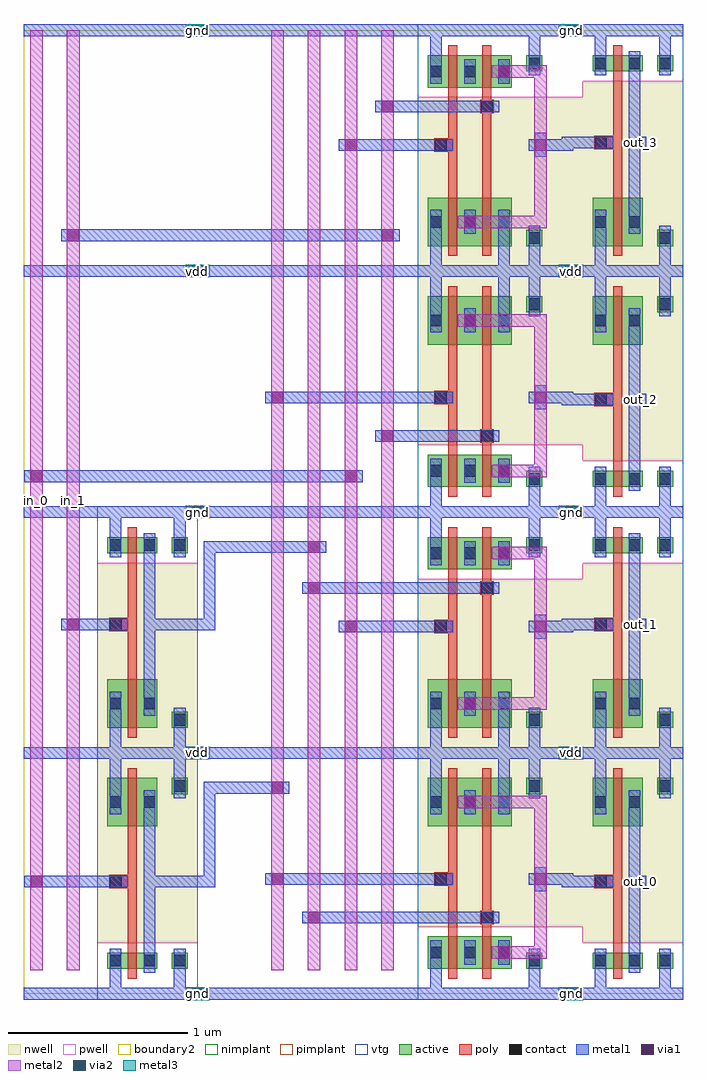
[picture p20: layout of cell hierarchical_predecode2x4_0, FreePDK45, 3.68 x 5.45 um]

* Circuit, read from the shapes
.subckt hierarchical_predecode2x4_0 gnd in_0 in_1 out_0 out_1 out_2 out_3 vdd
M1 pnand2_0_6/A in_0 gnd gnd nfet w=0.09u l=0.05u
M2 pnand2_0_6/B in_1 gnd gnd nfet w=0.09u l=0.05u
M3 pnand2_0_6/nmos_m1_w0_180_a_p_2/D pnand2_0_6/A gnd gnd nfet w=0.18u l=0.05u
M4 pnand2_0_7/nmos_m1_w0_180_a_p_2/D in_0 gnd gnd nfet w=0.18u l=0.05u
M5 pnand2_0_8/nmos_m1_w0_180_a_p_2/D pnand2_0_6/A gnd gnd nfet w=0.18u l=0.05u
M6 pnand2_0_9/nmos_m1_w0_180_a_p_2/D in_0 gnd gnd nfet w=0.18u l=0.05u
M7 pinv_0_2/A pnand2_0_6/B pnand2_0_6/nmos_m1_w0_180_a_p_2/D gnd nfet w=0.18u l=0.05u
M8 pinv_0_3/A pnand2_0_6/B pnand2_0_7/nmos_m1_w0_180_a_p_2/D gnd nfet w=0.18u l=0.05u
M9 pinv_0_4/A in_1 pnand2_0_8/nmos_m1_w0_180_a_p_2/D gnd nfet w=0.18u l=0.05u
M10 pinv_0_5/A in_1 pnand2_0_9/nmos_m1_w0_180_a_p_2/D gnd nfet w=0.18u l=0.05u
M11 out_0 pinv_0_2/A gnd gnd nfet w=0.09u l=0.05u
M12 out_1 pinv_0_3/A gnd gnd nfet w=0.09u l=0.05u
M13 out_2 pinv_0_4/A gnd gnd nfet w=0.09u l=0.05u
M14 out_3 pinv_0_5/A gnd gnd nfet w=0.09u l=0.05u
M15 pnand2_0_6/A in_0 vdd vdd pfet w=0.27u l=0.05u
M16 pnand2_0_6/B in_1 vdd vdd pfet w=0.27u l=0.05u
M17 pinv_0_2/A pnand2_0_6/A vdd vdd pfet w=0.27u l=0.05u
M18 pinv_0_3/A in_0 vdd vdd pfet w=0.27u l=0.05u
M19 pinv_0_4/A pnand2_0_6/A vdd vdd pfet w=0.27u l=0.05u
M20 pinv_0_5/A in_0 vdd vdd pfet w=0.27u l=0.05u
M21 vdd pnand2_0_6/B pinv_0_2/A vdd pfet w=0.27u l=0.05u
M22 vdd pnand2_0_6/B pinv_0_3/A vdd pfet w=0.27u l=0.05u
M23 vdd in_1 pinv_0_4/A vdd pfet w=0.27u l=0.05u
M24 vdd in_1 pinv_0_5/A vdd pfet w=0.27u l=0.05u
M25 out_0 pinv_0_2/A vdd vdd pfet w=0.27u l=0.05u
M26 out_1 pinv_0_3/A vdd vdd pfet w=0.27u l=0.05u
M27 out_2 pinv_0_4/A vdd vdd pfet w=0.27u l=0.05u
M28 out_3 pinv_0_5/A vdd vdd pfet w=0.27u l=0.05u
.ends

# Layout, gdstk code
import gdstk
lib = gdstk.Library(unit=1e-6, precision=5e-10)
def R(c, l, rs):  # rectangles x0, y0, x1, y1
    for r in rs: c.add(gdstk.rectangle(r[:2], r[2:], *l))
def A(c, l, x, y, w, h, nx, ny, dx, dy):  # array of equal rectangles
    R(c, l, [(x+i*dx, y+j*dy, x+i*dx+w, y+j*dy+h) for i in range(nx) for j in range(ny)])
active = (1, 0)
pwell = (2, 0)
nwell = (3, 0)
nimplant = (4, 0)
pimplant = (5, 0)
vtg = (6, 0)
poly = (9, 0)
contact = (10, 0)
metal1 = (11, 0)
via1 = (12, 0)
metal2 = (13, 0)
via2 = (14, 0)
metal3 = (15, 0)
boundary2 = (239, 0)

contact_9 = lib.new_cell('contact_9')
R(contact_9, active, [(0,0.0225,0.09,0.1125)])
R(contact_9, nwell, [(-0.055,-0.0325,0.145,0.1675)])
R(contact_9, pimplant, [(0,0.0225,0.09,0.1125)])
R(contact_9, contact, [(0.0125,0.035,0.0775,0.1)])
R(contact_9, metal1, [(0.0125,0,0.0775,0.135)])

pmos_m1_w0_270_a_p = lib.new_cell('pmos_m1_w0_270_a_p')
R(pmos_m1_w0_270_a_p, active, [(0,0,0.28,0.27)])
R(pmos_m1_w0_270_a_p, nwell, [(-0.055,-0.055,0.335,0.325)])
R(pmos_m1_w0_270_a_p, pimplant, [(0,0,0.28,0.27)])
R(pmos_m1_w0_270_a_p, vtg, [(-0.055,-0.055,0.335,0.325)])
R(pmos_m1_w0_270_a_p, poly, [(0.115,-0.055,0.165,0.325), (0.115,-0.055,0.165,0.325)])
R(pmos_m1_w0_270_a_p, metal1, [(0.0125,0.0675,0.0775,0.2025), (0.2025,0.0675,0.2675,0.2025)])
pmos_m1_w0_270_a_p.add(gdstk.Reference(contact_9, (0,0.0675)))
pmos_m1_w0_270_a_p.add(gdstk.Reference(contact_9, (0.19,0.0675)))
pmos_m1_w0_270_a_p.add(gdstk.Label('G', (0.14,0.135), layer=9, texttype=0))
pmos_m1_w0_270_a_p.add(gdstk.Label('S', (0.045,0.135), layer=11, texttype=0))
pmos_m1_w0_270_a_p.add(gdstk.Label('D', (0.235,0.135), layer=11, texttype=0))

contact_14 = lib.new_cell('contact_14')
R(contact_14, active, [(0,0.0225,0.09,0.1125)])
R(contact_14, pwell, [(-0.055,-0.0325,0.145,0.1675)])
R(contact_14, nimplant, [(0,0.0225,0.09,0.1125)])
R(contact_14, contact, [(0.0125,0.035,0.0775,0.1)])
R(contact_14, metal1, [(0.0125,0,0.0775,0.135)])

nmos_m1_w0_090_a_p = lib.new_cell('nmos_m1_w0_090_a_p')
R(nmos_m1_w0_090_a_p, active, [(0,0,0.28,0.09)])
R(nmos_m1_w0_090_a_p, pwell, [(-0.055,-0.055,0.335,0.145)])
R(nmos_m1_w0_090_a_p, nimplant, [(0,0,0.28,0.09)])
R(nmos_m1_w0_090_a_p, vtg, [(-0.055,-0.055,0.335,0.145)])
R(nmos_m1_w0_090_a_p, poly, [(0.115,-0.055,0.165,0.145), (0.115,-0.055,0.165,0.145)])
R(nmos_m1_w0_090_a_p, metal1, [(0.0125,-0.0225,0.0775,0.1125), (0.2025,-0.0225,0.2675,0.1125)])
nmos_m1_w0_090_a_p.add(gdstk.Reference(contact_14, (0,-0.0225)))
nmos_m1_w0_090_a_p.add(gdstk.Reference(contact_14, (0.19,-0.0225)))
nmos_m1_w0_090_a_p.add(gdstk.Label('G', (0.14,0.045), layer=9, texttype=0))
nmos_m1_w0_090_a_p.add(gdstk.Label('S', (0.045,0.045), layer=11, texttype=0))
nmos_m1_w0_090_a_p.add(gdstk.Label('D', (0.235,0.045), layer=11, texttype=0))

contact_18 = lib.new_cell('contact_18')
R(contact_18, active, [(0,0.0225,0.09,0.1125)])
R(contact_18, nwell, [(-0.055,-0.0325,0.145,0.1675)])
R(contact_18, nimplant, [(0,0.0225,0.09,0.1125)])
R(contact_18, contact, [(0.0125,0.035,0.0775,0.1)])
R(contact_18, metal1, [(0.0125,0,0.0775,0.135)])

contact_19 = lib.new_cell('contact_19')
R(contact_19, active, [(0,0.0225,0.09,0.1125)])
R(contact_19, pwell, [(-0.055,-0.0325,0.145,0.1675)])
R(contact_19, pimplant, [(0,0.0225,0.09,0.1125)])
R(contact_19, contact, [(0.0125,0.035,0.0775,0.1)])
R(contact_19, metal1, [(0.0125,0,0.0775,0.135)])

contact_10 = lib.new_cell('contact_10')
R(contact_10, poly, [(0.03,0,0.105,0.075)])
R(contact_10, contact, [(0.035,0.005,0.1,0.07)])
R(contact_10, metal1, [(0,0.005,0.135,0.07)])

pinv_0 = lib.new_cell('pinv_0')
R(pinv_0, pwell, [(0,-0.0325,0.56,0.285)])
R(pinv_0, nwell, [(0,0.285,0.56,1.3775)])
R(pinv_0, vtg, [(0,-0.0325,0.56,0.285), (0,0.285,0.56,1.3775)])
R(pinv_0, poly, [(0.17,0.085,0.22,0.88), (0.1025,0.59,0.17,0.665)])
R(pinv_0, metal1, [(0,-0.0325,0.56,0.0325), (0.0675,-0.0325,0.1325,0.1175), (0.4275,0,0.4925,0.185), (0.2575,0.1175,0.3225,1.1375), (0.035,0.595,0.17,0.66), (0.29,0.595,0.355,0.66), (0.0675,1.0025,0.1325,1.3775), (0.4275,1.16,0.4925,1.345), (0,1.3125,0.56,1.3775)])
R(pinv_0, boundary2, [(0,0,0.56,1.345)])
pinv_0.add(gdstk.Reference(pmos_m1_w0_270_a_p, (0.055,0.935)))
pinv_0.add(gdstk.Reference(nmos_m1_w0_090_a_p, (0.055,0.14)))
pinv_0.add(gdstk.Reference(contact_18, (0.415,1.0925)))
pinv_0.add(gdstk.Reference(contact_19, (0.415,0.1175)))
pinv_0.add(gdstk.Reference(contact_10, (0.035,0.59)))
pinv_0.add(gdstk.Label('gnd', (0.28,0), layer=11, texttype=0))
pinv_0.add(gdstk.Label('vdd', (0.28,1.345), layer=11, texttype=0))
pinv_0.add(gdstk.Label('A', (0.1025,0.6275), layer=11, texttype=0))
pinv_0.add(gdstk.Label('Z', (0.3225,0.6275), layer=11, texttype=0))

nmos_m1_w0_180_a_p = lib.new_cell('nmos_m1_w0_180_a_p')
R(nmos_m1_w0_180_a_p, active, [(0,0,0.28,0.18)])
R(nmos_m1_w0_180_a_p, pwell, [(-0.055,-0.055,0.335,0.235)])
R(nmos_m1_w0_180_a_p, nimplant, [(0,0,0.28,0.18)])
R(nmos_m1_w0_180_a_p, vtg, [(-0.055,-0.055,0.335,0.235)])
R(nmos_m1_w0_180_a_p, poly, [(0.115,-0.055,0.165,0.235), (0.115,-0.055,0.165,0.235)])
R(nmos_m1_w0_180_a_p, metal1, [(0.0125,0.0225,0.0775,0.1575), (0.2025,0.0225,0.2675,0.1575)])
nmos_m1_w0_180_a_p.add(gdstk.Reference(contact_14, (0,0.0225)))
nmos_m1_w0_180_a_p.add(gdstk.Reference(contact_14, (0.19,0.0225)))
nmos_m1_w0_180_a_p.add(gdstk.Label('G', (0.14,0.09), layer=9, texttype=0))
nmos_m1_w0_180_a_p.add(gdstk.Label('S', (0.045,0.09), layer=11, texttype=0))
nmos_m1_w0_180_a_p.add(gdstk.Label('D', (0.235,0.09), layer=11, texttype=0))

contact_20 = lib.new_cell('contact_20')
R(contact_20, metal1, [(0.035,0,0.1,0.135)])
R(contact_20, via1, [(0.035,0.035,0.1,0.1)])
R(contact_20, metal2, [(0,0.0325,0.135,0.1025)])

contact_16 = lib.new_cell('contact_16')
R(contact_16, metal1, [(0,0.035,0.135,0.1)])
R(contact_16, via1, [(0.035,0.035,0.1,0.1)])
R(contact_16, metal2, [(0.0325,0,0.1025,0.135)])

pnand2_0 = lib.new_cell('pnand2_0')
R(pnand2_0, pwell, [(0,-0.0325,0.92,0.375)])
R(pnand2_0, nwell, [(0,0.375,0.92,1.3775)])
R(pnand2_0, vtg, [(0,-0.0325,0.92,0.375), (0,0.375,0.92,1.3775)])
R(pnand2_0, poly, [(0.17,0.085,0.22,0.88), (0.36,0.085,0.41,0.88), (0.36,0.3875,0.385,0.4625), (0.1275,0.6025,0.17,0.6775)])
R(pnand2_0, metal1, [(0,-0.0325,0.92,0.0325), (0.0675,-0.0325,0.1325,0.1625), (0.6175,0,0.6825,0.185), (0.3175,0.3925,0.4525,0.4575), (0.6525,0.5725,0.7175,0.7075), (0.06,0.6075,0.195,0.6725), (0.0675,1.0025,0.1325,1.3775), (0.4475,1.0025,0.5125,1.3775), (0.6175,1.16,0.6825,1.345), (0,1.3125,0.92,1.3775)])
R(pnand2_0, metal2, [(0.48,0.195,0.685,0.265), (0.65,0.195,0.72,0.265), (0.65,0.23,0.72,0.64), (0.65,0.64,0.72,1.07), (0.29,1.035,0.685,1.105), (0.65,1.035,0.72,1.105)])
R(pnand2_0, boundary2, [(0,0,0.92,1.345)])
pnand2_0.add(gdstk.Reference(pmos_m1_w0_270_a_p, (0.055,0.935)))
pnand2_0.add(gdstk.Reference(pmos_m1_w0_270_a_p, (0.245,0.935)))
pnand2_0.add(gdstk.Reference(nmos_m1_w0_180_a_p, (0.055,0.14)))
pnand2_0.add(gdstk.Reference(nmos_m1_w0_180_a_p, (0.245,0.14)))
pnand2_0.add(gdstk.Reference(contact_18, (0.605,1.0925)))
pnand2_0.add(gdstk.Reference(contact_19, (0.605,0.1175)))
pnand2_0.add(gdstk.Reference(contact_10, (0.3175,0.3875)))
pnand2_0.add(gdstk.Reference(contact_10, (0.06,0.6025)))
pnand2_0.add(gdstk.Reference(contact_20, (0.2225,1.0025)))
pnand2_0.add(gdstk.Reference(contact_20, (0.4125,0.1625)))
pnand2_0.add(gdstk.Reference(contact_16, (0.6175,0.5725)))
pnand2_0.add(gdstk.Label('gnd', (0.46,0), layer=11, texttype=0))
pnand2_0.add(gdstk.Label('vdd', (0.46,1.345), layer=11, texttype=0))
pnand2_0.add(gdstk.Label('B', (0.385,0.425), layer=11, texttype=0))
pnand2_0.add(gdstk.Label('A', (0.1275,0.64), layer=11, texttype=0))
pnand2_0.add(gdstk.Label('Z', (0.685,0.64), layer=11, texttype=0))

contact_5 = lib.new_cell('contact_5')
R(contact_5, metal1, [(0,0.0025,0.135,0.0675)])
R(contact_5, via1, [(0.035,0.0025,0.1,0.0675)])
R(contact_5, metal2, [(0,0,0.135,0.07)])

contact_6 = lib.new_cell('contact_6')
R(contact_6, metal2, [(0,0,0.135,0.07)])
R(contact_6, via2, [(0.035,0.0025,0.1,0.0675)])
R(contact_6, metal3, [(0,0,0.135,0.07)])

hierarchical_predecode2x = lib.new_cell('hierarchical_predecode2x4_0')
R(hierarchical_predecode2x, metal1, [(0,-0.0325,3.68,0.0325), (1.62,0.3925,2.5175,0.4575), (0.07,0.595,0.445,0.66), (0.765,0.595,1.035,0.66), (1.0025,0.595,1.0675,0.66), (3.0025,0.595,3.0675,0.66), (3.035,0.595,3.155,0.66), (3.41,0.595,3.475,0.66), (1.415,0.6075,2.26,0.6725), (2.9175,0.6075,3.035,0.6725), (3.0025,0.6075,3.0675,0.6725), (1.0025,0.6275,1.0675,1.15), (3.0025,0.6275,3.0675,0.64), (1.0025,1.1175,1.0675,1.1825), (1.035,1.1175,1.415,1.1825), (0,1.3125,3.68,1.3775), (0,1.3125,3.68,1.3775), (1.825,2.0175,2.26,2.0825), (2.9175,2.0175,3.035,2.0825), (3.0025,2.0175,3.0675,2.0825), (0.275,2.03,0.445,2.095), (0.765,2.03,1.035,2.095), (1.0025,2.03,1.0675,2.095), (3.0025,2.03,3.0675,2.095), (3.035,2.03,3.155,2.095), (3.41,2.03,3.475,2.095), (3.0025,2.05,3.0675,2.0625), (1.0025,2.0625,1.0675,2.495), (1.62,2.2325,2.5175,2.2975), (1.0025,2.4625,1.0675,2.5275), (1.035,2.4625,1.62,2.5275), (0,2.6575,3.68,2.7225), (0,2.6575,3.68,2.7225), (0.07,2.8575,1.825,2.9225), (2.03,3.0825,2.5175,3.1475), (3.0025,3.285,3.0675,3.35), (3.035,3.285,3.155,3.35), (3.41,3.285,3.475,3.35), (1.415,3.2975,2.26,3.3625), (2.9175,3.2975,3.035,3.3625), (3.0025,3.2975,3.0675,3.3625), (3.0025,3.3175,3.0675,3.33), (0,4.0025,3.68,4.0675), (0,4.0025,3.68,4.0675), (0.275,4.2025,2.03,4.2675), (1.825,4.7075,2.26,4.7725), (2.9175,4.7075,3.035,4.7725), (3.0025,4.7075,3.0675,4.7725), (3.0025,4.72,3.0675,4.785), (3.035,4.72,3.155,4.785), (3.41,4.72,3.475,4.785), (3.0025,4.74,3.0675,4.7525), (2.03,4.9225,2.5175,4.9875), (0,5.3475,3.68,5.4125)])
A(hierarchical_predecode2x, metal2, 1.38, 0.13, 0.07, 5.25, 4, 1, 0.205, 0)
R(hierarchical_predecode2x, metal2, [(0.035,0.13,0.105,5.38), (0.24,0.13,0.31,5.38)])
A(hierarchical_predecode2x, metal3, 0.9025, -0.035, 0.135, 0.07, 1, 5, 0, 1.345)
A(hierarchical_predecode2x, metal3, 2.9875, -0.035, 0.135, 0.07, 1, 5, 0, 1.345)
R(hierarchical_predecode2x, boundary2, [(0,0,3.68,5.38)])
hierarchical_predecode2x.add(gdstk.Reference(pinv_0, (0.41,0)))
hierarchical_predecode2x.add(gdstk.Reference(pinv_0, (0.41,2.69), x_reflection=True))
hierarchical_predecode2x.add(gdstk.Reference(pinv_0, (3.12,0)))
hierarchical_predecode2x.add(gdstk.Reference(pinv_0, (3.12,2.69), x_reflection=True))
hierarchical_predecode2x.add(gdstk.Reference(pinv_0, (3.12,2.69)))
hierarchical_predecode2x.add(gdstk.Reference(pinv_0, (3.12,5.38), x_reflection=True))
hierarchical_predecode2x.add(gdstk.Reference(pnand2_0, (2.2,0)))
hierarchical_predecode2x.add(gdstk.Reference(pnand2_0, (2.2,2.69), x_reflection=True))
hierarchical_predecode2x.add(gdstk.Reference(pnand2_0, (2.2,2.69)))
hierarchical_predecode2x.add(gdstk.Reference(pnand2_0, (2.2,5.38), x_reflection=True))
hierarchical_predecode2x.add(gdstk.Reference(contact_16, (1.3475,1.0825)))
hierarchical_predecode2x.add(gdstk.Reference(contact_16, (0.0025,0.56)))
hierarchical_predecode2x.add(gdstk.Reference(contact_16, (1.5525,2.4275)))
hierarchical_predecode2x.add(gdstk.Reference(contact_16, (0.2075,1.995)))
hierarchical_predecode2x.add(gdstk.Reference(contact_16, (0.0025,2.8225)))
hierarchical_predecode2x.add(gdstk.Reference(contact_16, (1.7575,2.8225)))
hierarchical_predecode2x.add(gdstk.Reference(contact_16, (0.2075,4.1675)))
hierarchical_predecode2x.add(gdstk.Reference(contact_16, (1.9625,4.1675)))
hierarchical_predecode2x.add(gdstk.Reference(contact_16, (1.3475,0.5725)))
hierarchical_predecode2x.add(gdstk.Reference(contact_16, (1.5525,0.3575)))
hierarchical_predecode2x.add(gdstk.Reference(contact_16, (1.7575,1.9825)))
hierarchical_predecode2x.add(gdstk.Reference(contact_16, (1.5525,2.1975)))
hierarchical_predecode2x.add(gdstk.Reference(contact_16, (1.3475,3.2625)))
hierarchical_predecode2x.add(gdstk.Reference(contact_16, (1.9625,3.0475)))
hierarchical_predecode2x.add(gdstk.Reference(contact_16, (1.7575,4.6725)))
hierarchical_predecode2x.add(gdstk.Reference(contact_16, (1.9625,4.8875)))
hierarchical_predecode2x.add(gdstk.Reference(contact_5, (0.9025,1.31)))
hierarchical_predecode2x.add(gdstk.Reference(contact_6, (0.9025,1.31)))
hierarchical_predecode2x.add(gdstk.Reference(contact_5, (2.9875,1.31)))
hierarchical_predecode2x.add(gdstk.Reference(contact_6, (2.9875,1.31)))
hierarchical_predecode2x.add(gdstk.Reference(contact_5, (0.9025,-0.035)))
hierarchical_predecode2x.add(gdstk.Reference(contact_6, (0.9025,-0.035)))
hierarchical_predecode2x.add(gdstk.Reference(contact_5, (2.9875,-0.035)))
hierarchical_predecode2x.add(gdstk.Reference(contact_6, (2.9875,-0.035)))
hierarchical_predecode2x.add(gdstk.Reference(contact_5, (0.9025,1.31)))
hierarchical_predecode2x.add(gdstk.Reference(contact_6, (0.9025,1.31)))
hierarchical_predecode2x.add(gdstk.Reference(contact_5, (2.9875,1.31)))
hierarchical_predecode2x.add(gdstk.Reference(contact_6, (2.9875,1.31)))
hierarchical_predecode2x.add(gdstk.Reference(contact_5, (0.9025,2.655)))
hierarchical_predecode2x.add(gdstk.Reference(contact_6, (0.9025,2.655)))
hierarchical_predecode2x.add(gdstk.Reference(contact_5, (2.9875,2.655)))
hierarchical_predecode2x.add(gdstk.Reference(contact_6, (2.9875,2.655)))
hierarchical_predecode2x.add(gdstk.Reference(contact_5, (0.9025,4)))
hierarchical_predecode2x.add(gdstk.Reference(contact_6, (0.9025,4)))
hierarchical_predecode2x.add(gdstk.Reference(contact_5, (2.9875,4)))
hierarchical_predecode2x.add(gdstk.Reference(contact_6, (2.9875,4)))
hierarchical_predecode2x.add(gdstk.Reference(contact_5, (0.9025,2.655)))
hierarchical_predecode2x.add(gdstk.Reference(contact_6, (0.9025,2.655)))
hierarchical_predecode2x.add(gdstk.Reference(contact_5, (2.9875,2.655)))
hierarchical_predecode2x.add(gdstk.Reference(contact_6, (2.9875,2.655)))
hierarchical_predecode2x.add(gdstk.Reference(contact_5, (0.9025,4)))
hierarchical_predecode2x.add(gdstk.Reference(contact_6, (0.9025,4)))
hierarchical_predecode2x.add(gdstk.Reference(contact_5, (2.9875,4)))
hierarchical_predecode2x.add(gdstk.Reference(contact_6, (2.9875,4)))
hierarchical_predecode2x.add(gdstk.Reference(contact_5, (0.9025,5.345)))
hierarchical_predecode2x.add(gdstk.Reference(contact_6, (0.9025,5.345)))
hierarchical_predecode2x.add(gdstk.Reference(contact_5, (2.9875,5.345)))
hierarchical_predecode2x.add(gdstk.Reference(contact_6, (2.9875,5.345)))
hierarchical_predecode2x.add(gdstk.Label('in_0', (0.07,2.755), layer=13, texttype=0))
hierarchical_predecode2x.add(gdstk.Label('in_1', (0.275,2.755), layer=13, texttype=0))
hierarchical_predecode2x.add(gdstk.Label('out_0', (3.4425,0.6275), layer=11, texttype=0))
hierarchical_predecode2x.add(gdstk.Label('out_1', (3.4425,2.0625), layer=11, texttype=0))
hierarchical_predecode2x.add(gdstk.Label('out_2', (3.4425,3.3175), layer=11, texttype=0))
hierarchical_predecode2x.add(gdstk.Label('out_3', (3.4425,4.7525), layer=11, texttype=0))
hierarchical_predecode2x.add(gdstk.Label('vdd', (0.97,4.035), layer=15, texttype=0))
hierarchical_predecode2x.add(gdstk.Label('vdd', (3.055,1.345), layer=15, texttype=0))
hierarchical_predecode2x.add(gdstk.Label('vdd', (3.055,4.035), layer=15, texttype=0))
hierarchical_predecode2x.add(gdstk.Label('vdd', (0.97,1.345), layer=15, texttype=0))
hierarchical_predecode2x.add(gdstk.Label('gnd', (0.97,0), layer=15, texttype=0))
hierarchical_predecode2x.add(gdstk.Label('gnd', (3.055,5.38), layer=15, texttype=0))
hierarchical_predecode2x.add(gdstk.Label('gnd', (3.055,2.69), layer=15, texttype=0))
hierarchical_predecode2x.add(gdstk.Label('gnd', (0.97,5.38), layer=15, texttype=0))
hierarchical_predecode2x.add(gdstk.Label('gnd', (0.97,2.69), layer=15, texttype=0))
hierarchical_predecode2x.add(gdstk.Label('gnd', (3.055,0), layer=15, texttype=0))

lib.write_gds('hierarchical_predecode2x4_0.gds')
